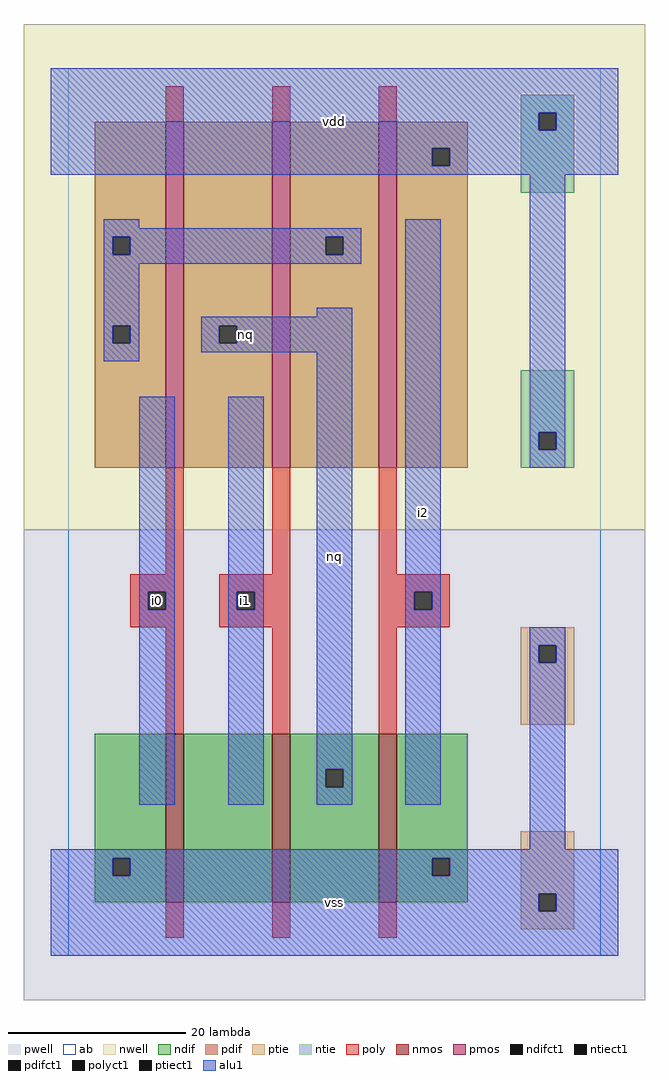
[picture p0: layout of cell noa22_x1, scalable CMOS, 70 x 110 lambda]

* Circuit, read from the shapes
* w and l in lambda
.subckt noa22_x1 i0 i1 i2 nq vdd vss
M1 n1 i0 vss vss nfet w=19 l=2
M2 nq i1 n1 vss nfet w=19 l=2
M3 vss i2 nq vss nfet w=19 l=2
M4 nq i0 n2 vdd pfet w=39 l=2
M5 n2 i1 nq vdd pfet w=39 l=2
M6 vdd i2 n2 vdd pfet w=39 l=2
.ends

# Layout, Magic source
magic
tech scmos
<< ab >>
rect 0 0 60 100
<< nwell >>
rect -5 48 65 105
<< pwell >>
rect -5 -5 65 48
<< poly >>
rect 11 94 13 98
rect 23 94 25 98
rect 35 94 37 98
rect 11 43 13 55
rect 23 43 25 55
rect 7 41 13 43
rect 7 39 9 41
rect 11 39 13 41
rect 7 37 13 39
rect 17 41 25 43
rect 17 39 19 41
rect 21 39 25 41
rect 17 37 25 39
rect 11 25 13 37
rect 23 25 25 37
rect 35 43 37 55
rect 35 41 43 43
rect 35 39 39 41
rect 41 39 43 41
rect 35 37 43 39
rect 35 25 37 37
rect 11 2 13 6
rect 23 2 25 6
rect 35 2 37 6
<< ndif >>
rect 3 11 11 25
rect 3 9 5 11
rect 7 9 11 11
rect 3 6 11 9
rect 13 6 23 25
rect 25 21 35 25
rect 25 19 29 21
rect 31 19 35 21
rect 25 6 35 19
rect 37 11 45 25
rect 37 9 41 11
rect 43 9 45 11
rect 37 6 45 9
<< pdif >>
rect 3 81 11 94
rect 3 79 5 81
rect 7 79 11 81
rect 3 71 11 79
rect 3 69 5 71
rect 7 69 11 71
rect 3 55 11 69
rect 13 71 23 94
rect 13 69 17 71
rect 19 69 23 71
rect 13 55 23 69
rect 25 81 35 94
rect 25 79 29 81
rect 31 79 35 81
rect 25 55 35 79
rect 37 91 45 94
rect 37 89 41 91
rect 43 89 45 91
rect 37 55 45 89
<< alu1 >>
rect -2 95 62 100
rect -2 93 53 95
rect 55 93 62 95
rect -2 91 62 93
rect -2 89 41 91
rect 43 89 62 91
rect -2 88 62 89
rect 4 82 8 83
rect 4 81 33 82
rect 4 79 5 81
rect 7 79 29 81
rect 31 79 33 81
rect 4 78 33 79
rect 4 71 8 78
rect 28 72 32 73
rect 4 69 5 71
rect 7 69 8 71
rect 4 67 8 69
rect 15 71 32 72
rect 15 69 17 71
rect 19 69 32 71
rect 15 68 32 69
rect 8 41 12 63
rect 8 39 9 41
rect 11 39 12 41
rect 8 17 12 39
rect 18 41 22 63
rect 18 39 19 41
rect 21 39 22 41
rect 18 17 22 39
rect 28 21 32 68
rect 28 19 29 21
rect 31 19 32 21
rect 28 17 32 19
rect 38 41 42 83
rect 52 59 56 88
rect 52 57 53 59
rect 55 57 56 59
rect 52 55 56 57
rect 38 39 39 41
rect 41 39 42 41
rect 38 17 42 39
rect 52 35 56 37
rect 52 33 53 35
rect 55 33 56 35
rect 52 12 56 33
rect -2 11 62 12
rect -2 9 5 11
rect 7 9 41 11
rect 43 9 62 11
rect -2 7 62 9
rect -2 5 53 7
rect 55 5 62 7
rect -2 0 62 5
<< ptie >>
rect 51 35 57 37
rect 51 33 53 35
rect 55 33 57 35
rect 51 26 57 33
rect 51 7 57 14
rect 51 5 53 7
rect 55 5 57 7
rect 51 3 57 5
<< ntie >>
rect 51 95 57 97
rect 51 93 53 95
rect 55 93 57 95
rect 51 86 57 93
rect 51 59 57 66
rect 51 57 53 59
rect 55 57 57 59
rect 51 55 57 57
<< nmos >>
rect 11 6 13 25
rect 23 6 25 25
rect 35 6 37 25
<< pmos >>
rect 11 55 13 94
rect 23 55 25 94
rect 35 55 37 94
<< polyct1 >>
rect 9 39 11 41
rect 19 39 21 41
rect 39 39 41 41
<< ndifct1 >>
rect 5 9 7 11
rect 29 19 31 21
rect 41 9 43 11
<< ntiect1 >>
rect 53 93 55 95
rect 53 57 55 59
<< ptiect1 >>
rect 53 33 55 35
rect 53 5 55 7
<< pdifct1 >>
rect 5 79 7 81
rect 5 69 7 71
rect 17 69 19 71
rect 29 79 31 81
rect 41 89 43 91
<< labels >>
rlabel polyct1 10 40 10 40 6 i0
rlabel polyct1 20 40 20 40 6 i1
rlabel alu1 20 70 20 70 6 nq
rlabel alu1 30 6 30 6 6 vss
rlabel alu1 30 45 30 45 6 nq
rlabel alu1 40 50 40 50 6 i2
rlabel alu1 30 94 30 94 6 vdd
<< end >>
